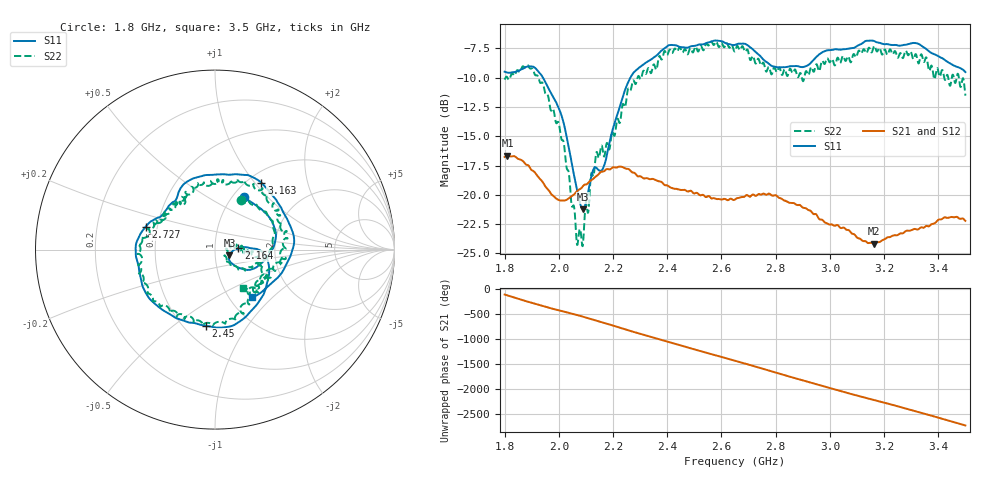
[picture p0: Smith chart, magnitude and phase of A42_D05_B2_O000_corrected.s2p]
! Created with skrf 1.9.0 (http://scikit-rf.org).
# Hz S RI R 50.0
!freq ReS11 ImS11 ReS21 ImS21 ReS12 ImS12 ReS22 ImS22
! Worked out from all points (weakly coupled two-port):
!   1601 points, 1.8 GHz to 3.5 GHz, reference 50 ohm
!   highest |S21| = -16.67 dB at 1.811 GHz (marker M1); lowest = -24.2 dB at 3.162 GHz (marker M2)
!   lowest |S11| = -21.2 dB at 2.09 GHz (marker M3), VSWR 1.19, Z = 58.6 - j3.79 ohm
!   |S11| at or under -10 dB: 1.942 GHz to 2.264 GHz (322.2 MHz wide, 15.3 % of centre)
!   |S22| runs from -24.4 to -6.9 dB; largest |S21 - S12| = 0.0024
!   S11 on the Smith chart (normalised r, x): 1.8 GHz: 1.12, +0.75; 2.164 GHz: 1.30, +0.03; 2.45 GHz: 0.64, -0.66; 2.727 GHz: 0.43, +0.13; 3.163 GHz: 1.15, +1.08; 3.5 GHz: 1.28, -0.75
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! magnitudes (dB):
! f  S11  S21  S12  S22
! 1.8 GHz  -9.5  -16.8  -16.8  -10.2
! 1.811 GHz  -9.6  -16.7  -16.7  -10.0
! 1.885 GHz  -9.0  -17.5  -17.5  -8.9
! 1.941 GHz  -10.0  -18.9  -18.9  -10.5
! 2.011 GHz  -13.3  -20.5  -20.5  -15.3
! 2.066 GHz  -19.4  -19.7  -19.7  -24.0
! 2.084 GHz  -21.1  -19.4  -19.4  -23.8
! 2.09 GHz  -21.2  -19.2  -19.3  -24.0
! 2.137 GHz  -17.7  -18.4  -18.4  -16.6
! 2.164 GHz  -17.7  -18.0  -17.9  -16.5
! 2.259 GHz  -10.2  -17.8  -17.8  -11.0
! 2.367 GHz  -8.0  -18.8  -18.8  -8.4
! 2.45 GHz  -7.4  -19.6  -19.6  -7.6
! 2.65 GHz  -7.2  -20.4  -20.4  -7.7
! 2.727 GHz  -7.8  -20.1  -20.1  -8.8
! 2.803 GHz  -9.1  -20.1  -20.1  -9.5
! 2.934 GHz  -8.6  -21.5  -21.5  -9.1
! 3.162 GHz  -6.9  -24.2  -24.1  -7.3
! 3.163 GHz  -6.9  -24.1  -24.1  -7.3
! 3.217 GHz  -7.2  -23.6  -23.6  -7.8
! 3.324 GHz  -7.1  -23.0  -22.9  -8.5
! 3.5 GHz  -9.5  -22.2  -22.2  -11.5
